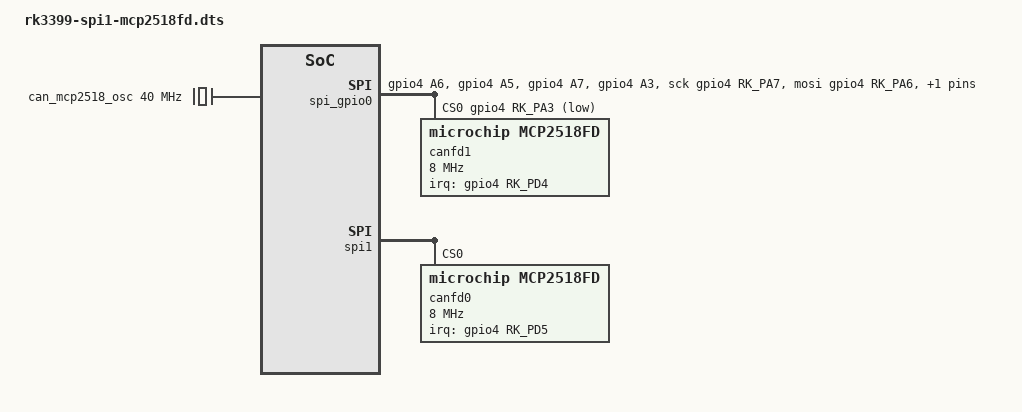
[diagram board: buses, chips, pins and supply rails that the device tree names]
/dts-v1/;
/plugin/;

#include <dt-bindings/gpio/gpio.h>
#include <dt-bindings/pinctrl/rockchip.h>
#include <dt-bindings/interrupt-controller/irq.h>

/ {
	metadata {
		title = "Enable Waveshare 2-CH CAN FD HAT with 40MHz external clock on SPI1 and GPIO";
		compatible = "radxa,rock-4c-plus";
		category = "misc";
		exclusive = "spi1", "GPIO1_B0", "GPIO1_A7", "GPIO1_B1", "GPIO1_B2",
"GPIO4_D4", "GPIO4_D5", "GPIO4_A3", "GPIO4_A5", "GPIO4_A6", "GPIO4_A7";
		description = "Provide support for Waveshare 2-CH CAN FD HAT
with Microchip MCP2518FD SPI CAN controller. Assumes 40MHz external clock.";
	};
};

&{/} {
	can_mcp2518_osc: can-mcp2518-osc {
		compatible = "fixed-clock";
		clock-frequency = <40000000>;
		#clock-cells = <0>;
	};

	spi_gpio0: spi-gpio0 {
		compatible = "spi-gpio";
		#address-cells = <1>;
		#size-cells = <0>;

		pinctrl-names = "default";
		pinctrl-0 = <&spi_gpio0_pins>;

		gpio-mosi = <&gpio4 RK_PA6 GPIO_ACTIVE_HIGH>;
		gpio-miso = <&gpio4 RK_PA5 GPIO_ACTIVE_HIGH>;
		gpio-sck = <&gpio4 RK_PA7 GPIO_ACTIVE_HIGH>;
		cs-gpios = <&gpio4 RK_PA3 GPIO_ACTIVE_LOW>;
		num-chipselects = <1>;
		status = "okay";

		canfd1: can@0 {
			compatible = "microchip,mcp2518fd";
			pinctrl-names = "default";
			pinctrl-0 = <&mcp2518fd1_int_pins>;
			clocks = <&can_mcp2518_osc>;
			interrupt-parent = <&gpio4>;
			interrupts = <RK_PD4 IRQ_TYPE_LEVEL_LOW>;
			reg = <0>;
			spi-max-frequency = <8000000>;
		};
	};
};

&spi1 {
	status = "okay";
	#address-cells = <1>;
	#size-cells = <0>;

	canfd0: can@0 {
		compatible = "microchip,mcp2518fd";
		pinctrl-names = "default";
		pinctrl-0 = <&mcp2518fd0_int_pins>;
		clocks = <&can_mcp2518_osc>;
		interrupt-parent = <&gpio4>;
		interrupts = <RK_PD5 IRQ_TYPE_LEVEL_LOW>;
		reg = <0>;
		spi-max-frequency = <8000000>;
	};
};

&pinctrl {
	spi_gpio0_pins {
		spi_gpio0_pins: spi-gpio0-pins {
			rockchip,pins =
				/* MOSI */
				<4 RK_PA6 RK_FUNC_GPIO &pcfg_pull_none_12ma>,
				/* MISO */
				<4 RK_PA5 RK_FUNC_GPIO &pcfg_pull_none>,
				/* SCK */
				<4 RK_PA7 RK_FUNC_GPIO &pcfg_pull_none_12ma>,
				/* CS */
				<4 RK_PA3 RK_FUNC_GPIO &pcfg_pull_none_12ma>;
		};
	};

	mcp2518fd0_int_pins {
		mcp2518fd0_int_pins: mcp2518fd0_int_pin {
			rockchip,pins = <4 RK_PD5 RK_FUNC_GPIO &pcfg_pull_none>;
		};
	};

	mcp2518fd1_int_pins {
		mcp2518fd1_int_pins: mcp2518fd1_int_pin {
			rockchip,pins = <4 RK_PD4 RK_FUNC_GPIO &pcfg_pull_none>;
		};
	};
};
